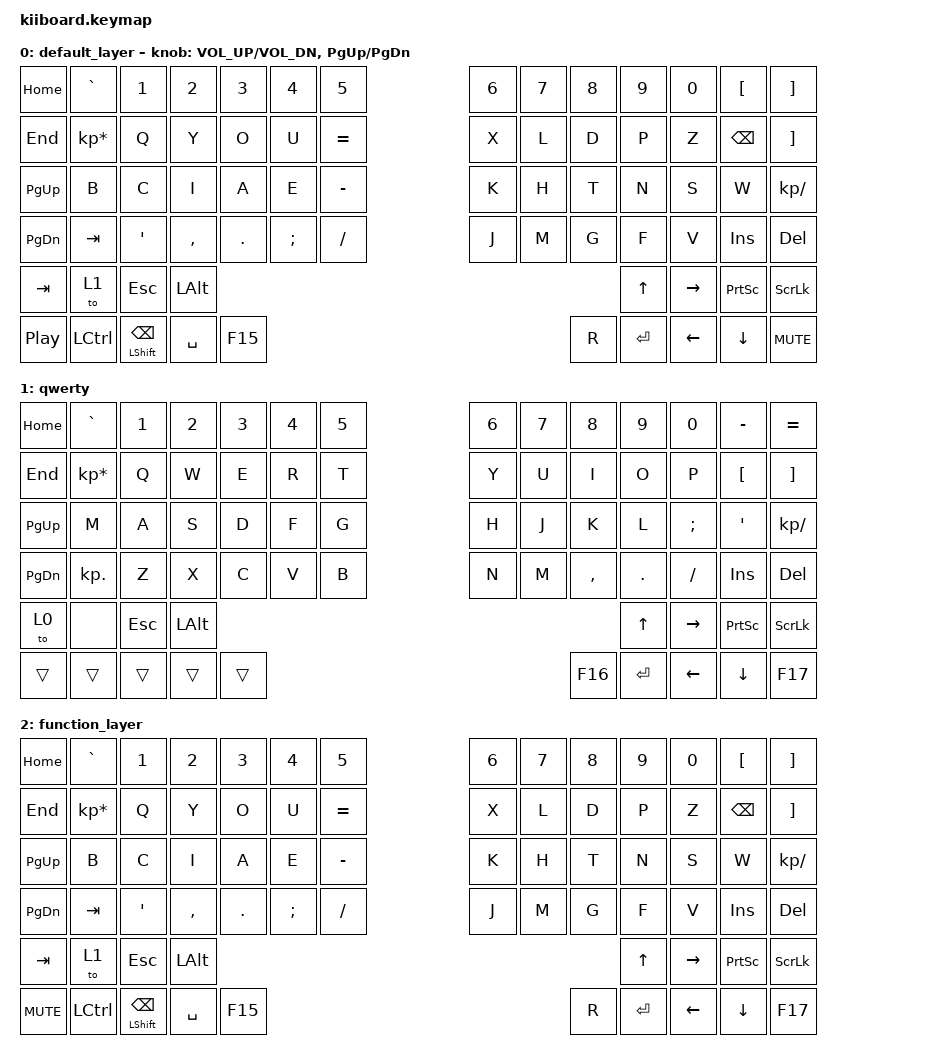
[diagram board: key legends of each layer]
#include <behaviors.dtsi>
#include <dt-bindings/zmk/keys.h>

/ {
    keymap {
        compatible = "zmk,keymap";

        default_layer { // Layer 0
            // ---------------------------------------------------------------------------------------------------------------------------------------------------------------
            // |  HOME   |    `    |    1    |    2    |    3    |    4    |    5    |                 |    6    |    7    |    8    |    9    |    0    |    [    |    ]    |
            // |   END   |    *    |    Q    |    Y    |    O    |    U    |    =    |                 |    X    |    L    |    D    |    P    |    Z    |   BACK  |    ]    |
            // |  PGUP   |    B    |    C    |    I    |    A    |    E    |    -    |                 |    K    |    H    |    T    |　  N    |    S    |    W    |    /    |
            // |  PGDWN  |    .    |    '    |    ,    |    .    |    ;    |    /    |                 |    J    |    M    |    G    |    F    |    V    |   INS   |   DEL   |
            // |    ?    |    ?    |   ESC   |   ALT   |                                                                             |    UP   |  RIGHT  |  PSCRN  |   SLCK  |
            // |   ENC   |         |   CTL   |   SFT   |   SPC   |    ?    |                                     |    R    |   ENT   |   LFT   |   DWN   |         |   ENC   |


            bindings = <
                  &kp HOME &kp GRAVE  &kp N1    &kp N2    &kp N3    &kp N4    &kp N5                      &kp N6   &kp N7     &kp N8    &kp N9    &kp N0    &kp LBKT  &kp RBKT
                  &kp END  &kp KP_MULTIPLY    &kp Q   &kp Y   &kp O   &kp U   &kp EQUAL                   &kp X    &kp L      &kp D     &kp P     &kp Z     &kp BSPC  &kp RBKT
                  &kp PG_UP &kp B     &kp C     &kp I     &kp A     &kp E     &kp MINUS                   &kp K    &kp H      &kp T     &kp N     &kp S     &kp W     &kp KP_SLASH
                  &kp PG_DN &kp TAB   &kp SQT  &kp COMMA &kp DOT   &kp SEMI  &kp SLASH                    &kp J    &kp M      &kp G     &kp F     &kp V     &kp INS   &kp DEL
                  &kp TAB   &to 1     &kp ESC   &kp LALT                                                                                &kp UP    &kp RIGHT &kp PSCRN &kp SLCK     
                  &kp C_PP            &kp LCTRL &mt LSHIFT BSPC &kp SPACE &kp F15                                  &kp R      &kp RET   &kp LEFT  &kp DOWN            &kp C_MUTE
            >;

            sensor-bindings = <&inc_dec_kp C_VOL_UP C_VOL_DN &inc_dec_kp PG_UP PG_DN>;
        };

        qwerty { // Layer 1
            // ---------------------------------------------------------------------------------------------------------------------------------------------------------------
            // |  HOME   |    `    |    1    |    2    |    3    |    4    |    5    |                 |    6    |    7    |    8    |    9    |    0    |    -    |    =    |
            // |   END   |    *    |    Q    |    W    |    E    |    R    |    T    |                 |    Y    |    U    |    I    |    O    |    P    |    [    |    ]    |
            // |  PGUP   |    -    |    A    |    S    |    D    |    F    |    G    |                 |    H    |    J    |    K    |　  L    |    ;    |    '    |    /    |
            // |  PGDWN  |    .    |    Z    |    X    |    C    |    V    |    B    |                 |    N    |    M    |    ,    |    .    |    /    |   INS   |   DEL   |
            // |    ?    |    ?    |   ESC   |   ALT   |                                                                             |    UP   |  RIGHT  |  PSCRN  |   SLCK  |
            // |   ENC   |         |   CTL   |   SFT   |   SPC   |    ?    |                                     |    ?    |   ENT   |   LFT   |   DWN   |         |   ENC   |


            bindings = <
                  &kp HOME &kp GRAVE  &kp N1    &kp N2    &kp N3    &kp N4    &kp N5                      &kp N6   &kp N7     &kp N8    &kp N9    &kp N0    &kp MINUS &kp EQUAL
                  &kp END  &kp KP_MULTIPLY    &kp Q   &kp W   &kp E   &kp R   &kp T                       &kp Y    &kp U      &kp I     &kp O     &kp P     &kp LBKT  &kp RBKT
                  &kp PG_UP &kp M     &kp A     &kp S     &kp D     &kp F     &kp G                       &kp H    &kp J      &kp K     &kp L     &kp SEMI  &kp SQT   &kp KP_SLASH
                  &kp PG_DN &kp KP_DOT &kp Z    &kp X     &kp C     &kp V     &kp B                       &kp N    &kp M      &kp COMMA &kp DOT   &kp SLASH &kp INS   &kp DEL
                  &to 0 &none         &kp ESC   &kp LALT                                                                                &kp UP    &kp RIGHT &kp PSCRN &kp SLCK     
                  &trans              &trans    &trans    &trans    &trans                                         &kp F16    &kp RET   &kp LEFT  &kp DOWN            &kp F17
            >;
        };

        function_layer { // Layer 2
            // -------------------------------------
            // |  HOME   |    `    |    1    |    2    |    3    |    4    |    5    |                 |    6    |    7    |    8    |    9    |    0    |    [    |    ]    |
            // |   END   |    *    |    Q    |    Y    |    O    |    U    |    =    |                 |    X    |    L    |    D    |    P    |    Z    |   BACK  |    ]    |
            // |  PGUP   |    B    |    C    |    I    |    A    |    E    |    -    |                 |    K    |    H    |    T    |　  N    |    S    |    W    |    /    |
            // |  PGDWN  |    .    |    '    |    ,    |    .    |    ;    |    /    |                 |    J    |    M    |    G    |    F    |    V    |   INS   |   DEL   |
            // |    ?    |    ?    |   ESC   |   ALT   |                                                                             |    UP   |  RIGHT  |  PSCRN  |   SLCK  |
            // |   ENC   |         |   CTL   |   SFT   |   SPC   |    ?    |                                     |    R    |   ENT   |   LFT   |   DWN   |         |   ENC   |


            bindings = <
                  &kp HOME &kp GRAVE  &kp N1    &kp N2    &kp N3    &kp N4    &kp N5                      &kp N6   &kp N7     &kp N8    &kp N9    &kp N0    &kp LBKT  &kp RBKT
                  &kp END  &kp KP_MULTIPLY    &kp Q   &kp Y   &kp O   &kp U   &kp EQUAL                   &kp X    &kp L      &kp D     &kp P     &kp Z     &kp BSPC  &kp RBKT
                  &kp PG_UP &kp B     &kp C     &kp I     &kp A     &kp E     &kp MINUS                   &kp K    &kp H      &kp T     &kp N     &kp S     &kp W     &kp KP_SLASH
                  &kp PG_DN &kp TAB   &kp SQT  &kp COMMA &kp DOT   &kp SEMI  &kp SLASH                    &kp J    &kp M      &kp G     &kp F     &kp V     &kp INS   &kp DEL
                  &kp TAB   &to 1     &kp ESC   &kp LALT                                                                                &kp UP    &kp RIGHT &kp PSCRN &kp SLCK     
                  &kp C_MUTE          &kp LCTRL &mt LSHIFT BSPC &kp SPACE &kp F15                         &kp R     &kp RET   &kp LEFT  &kp DOWN            &kp F17
            >;
        };
    };
 };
